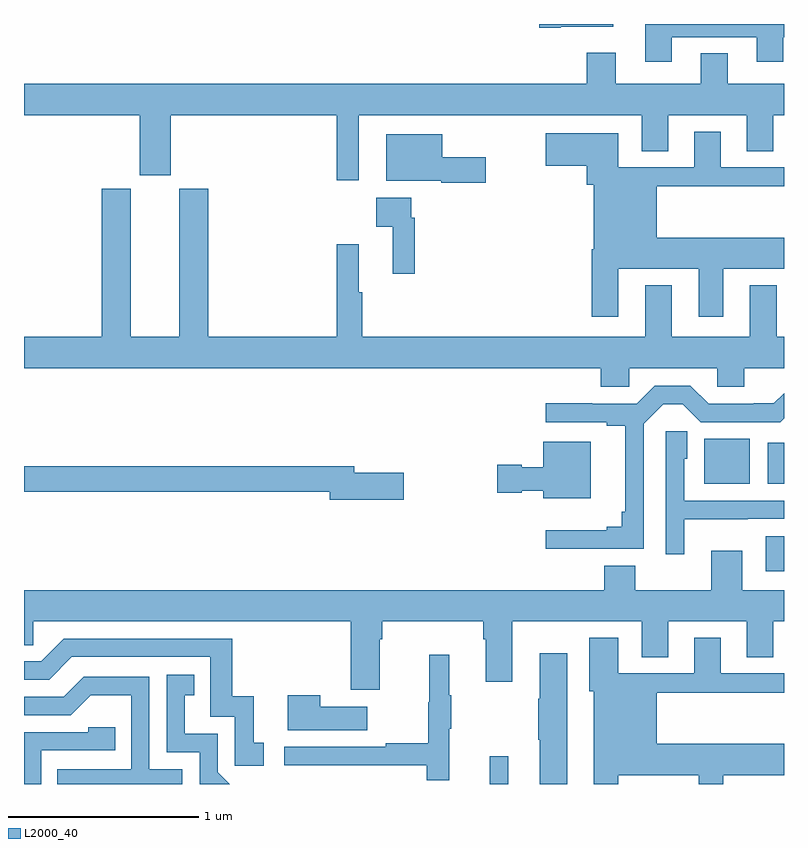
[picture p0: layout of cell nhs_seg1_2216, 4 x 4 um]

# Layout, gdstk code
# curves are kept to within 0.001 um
import gdstk
lib = gdstk.Library(unit=1e-6, precision=1e-09)
def R(c, l, rs):  # rectangles x0, y0, x1, y1
    for r in rs: c.add(gdstk.rectangle(r[:2], r[2:], *l))
def P(c, l, *ps):  # polygons
    for p in ps: c.add(gdstk.Polygon(p, *l))
L2000_40 = (2000, 40)

nhs_seg1_2216 = lib.new_cell('nhs_seg1_2216')
R(nhs_seg1_2216, L2000_40, [(233.451,560.199,233.548,560.344), (234.905,561.318,235,561.504), (234.581,561.779,234.82,562.015), (234.914,561.779,235,561.994)])
P(nhs_seg1_2216, L2000_40, [(233.824,564.185),(234.1,564.185),(234.1,564.199),(233.712,564.199),(233.712,564.178),(233.824,564.178)],
  [(234.409,564.129),(234.857,564.129),(234.857,564),(234.997,564),(234.997,564.129),(235,564.129),(235,564.199),(234.269,564.199),(234.269,564),(234.409,564)],
  [(232.762,563.72),(234.251,563.72),(234.251,563.53),(234.391,563.53),(234.391,563.72),(234.803,563.72),(234.803,563.53),(234.943,563.53),(234.943,563.72),(235,563.72),(235,563.884),(234.703,563.884),(234.703,564.044),(234.563,564.044),(234.563,563.884),(234.115,563.884),(234.115,564.049),(233.963,564.049),(233.963,563.884),(231,563.884),(231,563.72),(231.608,563.72),(231.608,563.403),(231.772,563.403),(231.772,563.72),(232.645,563.72),(232.645,563.376),(232.762,563.376)],
  [(234.127,562.91),(234.551,562.91),(234.551,562.659),(234.679,562.659),(234.679,562.91),(235,562.91),(235,563.074),(234.331,563.074),(234.331,563.344),(235,563.344),(235,563.445),(234.667,563.445),(234.667,563.632),(234.527,563.632),(234.527,563.445),(234.127,563.445),(234.127,563.623),(233.745,563.623),(233.745,563.453),(233.963,563.453),(233.963,563.352),(233.999,563.352),(233.999,563.014),(233.987,563.014),(233.987,562.659),(234.127,562.659)],
  [(233.431,563.497),(233.2,563.497),(233.2,563.62),(232.907,563.62),(232.907,563.375),(233.196,563.375),(233.196,563.363),(233.431,563.363)],
  [(234.186,562.388),(234.648,562.388),(234.648,562.29),(234.79,562.29),(234.79,562.388),(235,562.388),(235,562.552),(234.961,562.552),(234.961,562.825),(234.821,562.825),(234.821,562.552),(234.409,562.552),(234.409,562.825),(234.269,562.825),(234.269,562.552),(232.781,562.552),(232.781,562.788),(232.763,562.788),(232.763,563.041),(232.645,563.041),(232.645,562.552),(231.971,562.552),(231.971,563.331),(231.818,563.331),(231.818,562.552),(231.562,562.552),(231.562,563.331),(231.41,563.331),(231.41,562.552),(231,562.552),(231,562.388),(234.035,562.388),(234.035,562.29),(234.186,562.29)],
  [(233.057,563.18),(233.037,563.18),(233.037,563.284),(232.854,563.284),(232.854,563.132),(232.94,563.132),(232.94,562.884),(233.057,562.884)],
  [(233.957,561.438),(234.261,561.438),(234.261,562.095),(234.365,562.199),(234.466,562.199),(234.561,562.104),(234.981,562.104),(235,562.123),(235,562.255),(234.947,562.202),(234.842,562.202),(234.842,562.2),(234.603,562.2),(234.507,562.296),(234.32,562.296),(234.224,562.2),(233.991,562.2),(233.991,562.202),(233.745,562.202),(233.745,562.104),(234.068,562.104),(234.068,562.084),(234.164,562.084),(234.164,561.631),(234.145,561.631),(234.145,561.554),(234.068,561.554),(234.068,561.535),(233.745,561.535),(233.745,561.437)],
  [(234.475,561.593),(234.809,561.593),(234.809,561.594),(235,561.594),(235,561.69),(234.474,561.69),(234.474,561.912),(234.49,561.912),(234.49,562.055),(234.378,562.055),(234.378,561.408),(234.475,561.408)],
  [(233.983,562),(233.732,562),(233.732,561.865),(233.619,561.865),(233.619,561.878),(233.49,561.878),(233.49,561.731),(233.619,561.731),(233.619,561.743),(233.732,561.743),(233.732,561.704),(233.983,561.704)],
  [(232.999,561.836),(232.738,561.836),(232.738,561.872),(231,561.872),(231,561.736),(232.61,561.736),(232.61,561.694),(232.999,561.694)],
  [(232.873,560.96),(232.886,560.96),(232.886,561.056),(233.417,561.056),(233.417,560.96),(233.429,560.96),(233.429,560.736),(233.569,560.736),(233.569,561.056),(234.251,561.056),(234.251,560.866),(234.391,560.866),(234.391,561.056),(234.803,561.056),(234.803,560.866),(234.943,560.866),(234.943,561.056),(235,561.056),(235,561.22),(234.781,561.22),(234.781,561.427),(234.617,561.427),(234.617,561.22),(234.217,561.22),(234.217,561.349),(234.053,561.349),(234.053,561.22),(231,561.22),(231,560.929),(231.048,560.929),(231.048,561.056),(232.721,561.056),(232.721,560.694),(232.873,560.694)],
  [(234.127,560.246),(234.551,560.246),(234.551,560.199),(234.679,560.199),(234.679,560.246),(235,560.246),(235,560.41),(234.331,560.41),(234.331,560.68),(235,560.68),(235,560.781),(234.667,560.781),(234.667,560.968),(234.527,560.968),(234.527,560.781),(234.127,560.781),(234.127,560.968),(233.975,560.968),(233.975,560.688),(233.999,560.688),(233.999,560.199),(234.127,560.199)],
  [(232.261,560.415),(232.208,560.415),(232.208,560.662),(232.097,560.662),(232.097,560.964),(231.21,560.964),(231.09,560.844),(231,560.844),(231,560.748),(231.132,560.748),(231.252,560.868),(231.981,560.868),(231.981,560.553),(232.11,560.553),(232.11,560.295),(232.261,560.295)],
  [(233.86,560.887),(233.714,560.887),(233.714,560.648),(233.707,560.648),(233.707,560.431),(233.714,560.431),(233.714,560.199),(233.86,560.199)],
  [(233.237,560.491),(233.248,560.491),(233.248,560.665),(233.237,560.665),(233.237,560.878),(233.134,560.878),(233.134,560.628),(233.127,560.628),(233.127,560.414),(232.903,560.414),(232.903,560.394),(232.371,560.394),(232.371,560.298),(233.119,560.298),(233.119,560.22),(233.237,560.22)],
  [(232.02,560.262),(232.02,560.463),(231.847,560.463),(231.847,560.667),(231.896,560.667),(231.896,560.773),(231.75,560.773),(231.75,560.367),(231.924,560.367),(231.924,560.199),(232.083,560.199)],
  [(231.834,560.277),(231.66,560.277),(231.66,560.763),(231.314,560.763),(231.209,560.658),(231,560.658),(231,560.562),(231.246,560.562),(231.35,560.666),(231.564,560.666),(231.564,560.277),(231.175,560.277),(231.175,560.199),(231.834,560.199)],
  [(232.807,560.605),(232.559,560.605),(232.559,560.665),(232.388,560.665),(232.388,560.483),(232.807,560.483)],
  [(231.09,560.376),(231.479,560.376),(231.479,560.499),(231.339,560.499),(231.339,560.472),(231,560.472),(231,560.199),(231.09,560.199)])

lib.write_gds('nhs_seg1_2216.gds')
